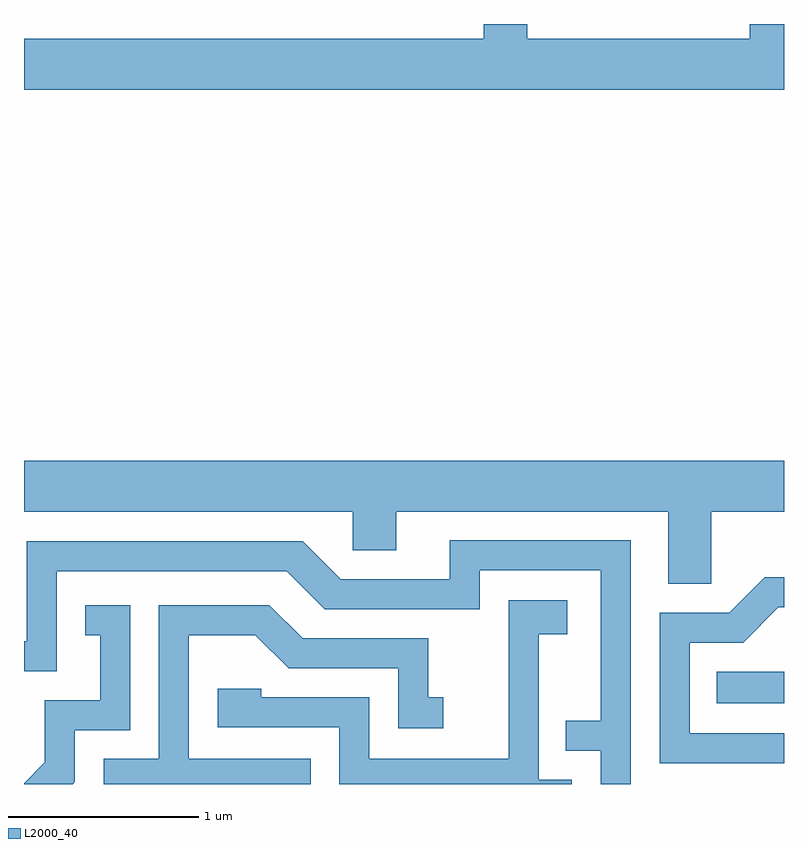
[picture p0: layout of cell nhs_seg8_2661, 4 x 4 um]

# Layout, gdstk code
import gdstk
lib = gdstk.Library(unit=1e-6, precision=1e-09)
def R(c, l, rs):  # rectangles x0, y0, x1, y1
    for r in rs: c.add(gdstk.rectangle(r[:2], r[2:], *l))
def P(c, l, *ps):  # polygons
    for p in ps: c.add(gdstk.Polygon(p, *l))
L2000_40 = (2000, 40)

nhs_seg8_2661 = lib.new_cell('nhs_seg8_2661')
R(nhs_seg8_2661, L2000_40, [(269.258,1808.766,269.611,1808.934)])
P(nhs_seg8_2661, L2000_40, [(269.611,1812.342),(269.431,1812.342),(269.431,1812.264),(268.259,1812.264),(268.259,1812.342),(268.031,1812.342),(268.031,1812.264),(265.611,1812.264),(265.611,1811.996),(269.611,1811.996)],
  [(269.229,1809.776),(269.611,1809.776),(269.611,1810.044),(265.611,1810.044),(265.611,1809.776),(267.341,1809.776),(267.341,1809.571),(267.569,1809.571),(267.569,1809.776),(269.001,1809.776),(269.001,1809.396),(269.229,1809.396)],
  [(268.804,1809.624),(267.851,1809.624),(267.851,1809.419),(267.277,1809.419),(267.077,1809.619),(265.626,1809.619),(265.626,1809.094),(265.611,1809.094),(265.611,1808.936),(265.784,1808.936),(265.784,1809.461),(266.994,1809.461),(267.194,1809.261),(268.009,1809.261),(268.009,1809.466),(268.646,1809.466),(268.646,1808.674),(268.463,1808.674),(268.463,1808.516),(268.646,1808.516),(268.646,1808.342),(268.804,1808.342)],
  [(269.611,1808.609),(269.114,1808.609),(269.114,1809.086),(269.397,1809.086),(269.582,1809.271),(269.611,1809.271),(269.611,1809.429),(269.509,1809.429),(269.324,1809.244),(268.956,1809.244),(268.956,1808.451),(269.611,1808.451)],
  [(268.494,1808.364),(268.319,1808.364),(268.319,1809.131),(268.469,1809.131),(268.469,1809.309),(268.161,1809.309),(268.161,1808.474),(267.429,1808.474),(267.429,1808.799),(266.859,1808.799),(266.859,1808.844),(266.631,1808.844),(266.631,1808.641),(267.271,1808.641),(267.271,1808.342),(268.494,1808.342)],
  [(267.119,1808.474),(266.479,1808.474),(266.479,1809.126),(266.829,1809.126),(267.004,1808.951),(267.581,1808.951),(267.581,1808.636),(267.818,1808.636),(267.818,1808.799),(267.739,1808.799),(267.739,1809.109),(267.077,1809.109),(266.902,1809.284),(266.321,1809.284),(266.321,1808.474),(266.031,1808.474),(266.031,1808.342),(267.119,1808.342)],
  [(265.879,1808.354),(265.879,1808.626),(266.169,1808.626),(266.169,1809.284),(265.933,1809.284),(265.933,1809.126),(266.011,1809.126),(266.011,1808.784),(265.721,1808.784),(265.721,1808.457),(265.611,1808.346),(265.611,1808.342),(265.867,1808.342)])

lib.write_gds('nhs_seg8_2661.gds')
